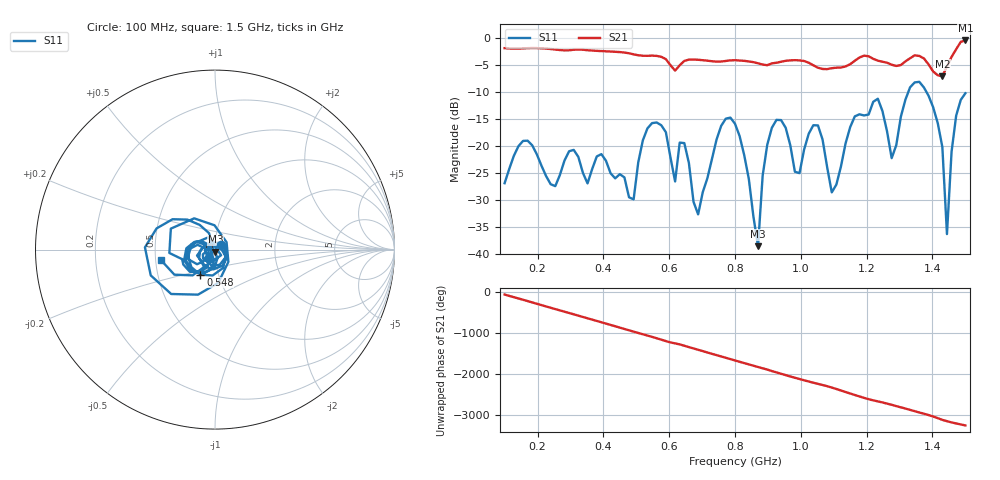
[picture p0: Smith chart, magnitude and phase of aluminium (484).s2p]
! NanoVNA-App
! Date: 2025-09-25 14:59:03
! Start: 100MHz Stop: 1,5GHz Points: 101
! S-Parameter data: F S11 S21 S12 S22
# Hz S RI R 50
!  Frequency  S11_Real  S11_Imag  S21_Real  S21_Imag  S12_Real  S12_Imag  S22_Real  S22_Imag
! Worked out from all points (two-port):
!   101 points, 100 MHz to 1.5 GHz, reference 50 ohm
!   highest |S21| = -0.49 dB at 1.5 GHz (marker M1); lowest = -7.1 dB at 1.43 GHz (marker M2)
!   |S21| within 3 dB of the highest: start of sweep to 573 MHz; 1.458 GHz to end of sweep (the widest 2 of 4)
!   lowest |S11| = -38.6 dB at 870 MHz (marker M3), VSWR 1.02, Z = 50.2 - j1.16 ohm
!   |S11| at or under -10 dB: start of sweep to 1.327 GHz; 1.381 GHz to end of sweep
!   S12 and S22 are empty: the file has one direction only
!   S11 on the Smith chart (normalised r, x): 100 MHz: 1.07, +0.06; 548 MHz: 0.82, -0.24; 1.5 GHz: 0.53, -0.07
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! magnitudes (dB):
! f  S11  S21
! 100 MHz  -27.0  -1.9
! 156 MHz  -19.1  -2.0
! 338 MHz  -25.1  -2.2
! 492 MHz  -30.0  -3.1
! 548 MHz  -15.8  -3.3
! 576 MHz  -16.2  -3.5
! 618 MHz  -26.6  -6.1
! 646 MHz  -19.5  -4.3
! 688 MHz  -32.7  -4.1
! 800 MHz  -15.9  -4.2
! 870 MHz  -38.6  -4.7
! 912 MHz  -16.7  -4.7
! 996 MHz  -25.1  -4.2
! 1.038 GHz  -16.2  -5.1
! 1.094 GHz  -28.7  -5.6
! 1.234 GHz  -11.3  -4.2
! 1.276 GHz  -22.3  -5.0
! 1.346 GHz  -8.3  -3.2
! 1.43 GHz  -20.3  -7.1
! 1.444 GHz  -36.4  -5.3
! 1.472 GHz  -14.4  -2.1
! 1.5 GHz  -10.3  -0.5
